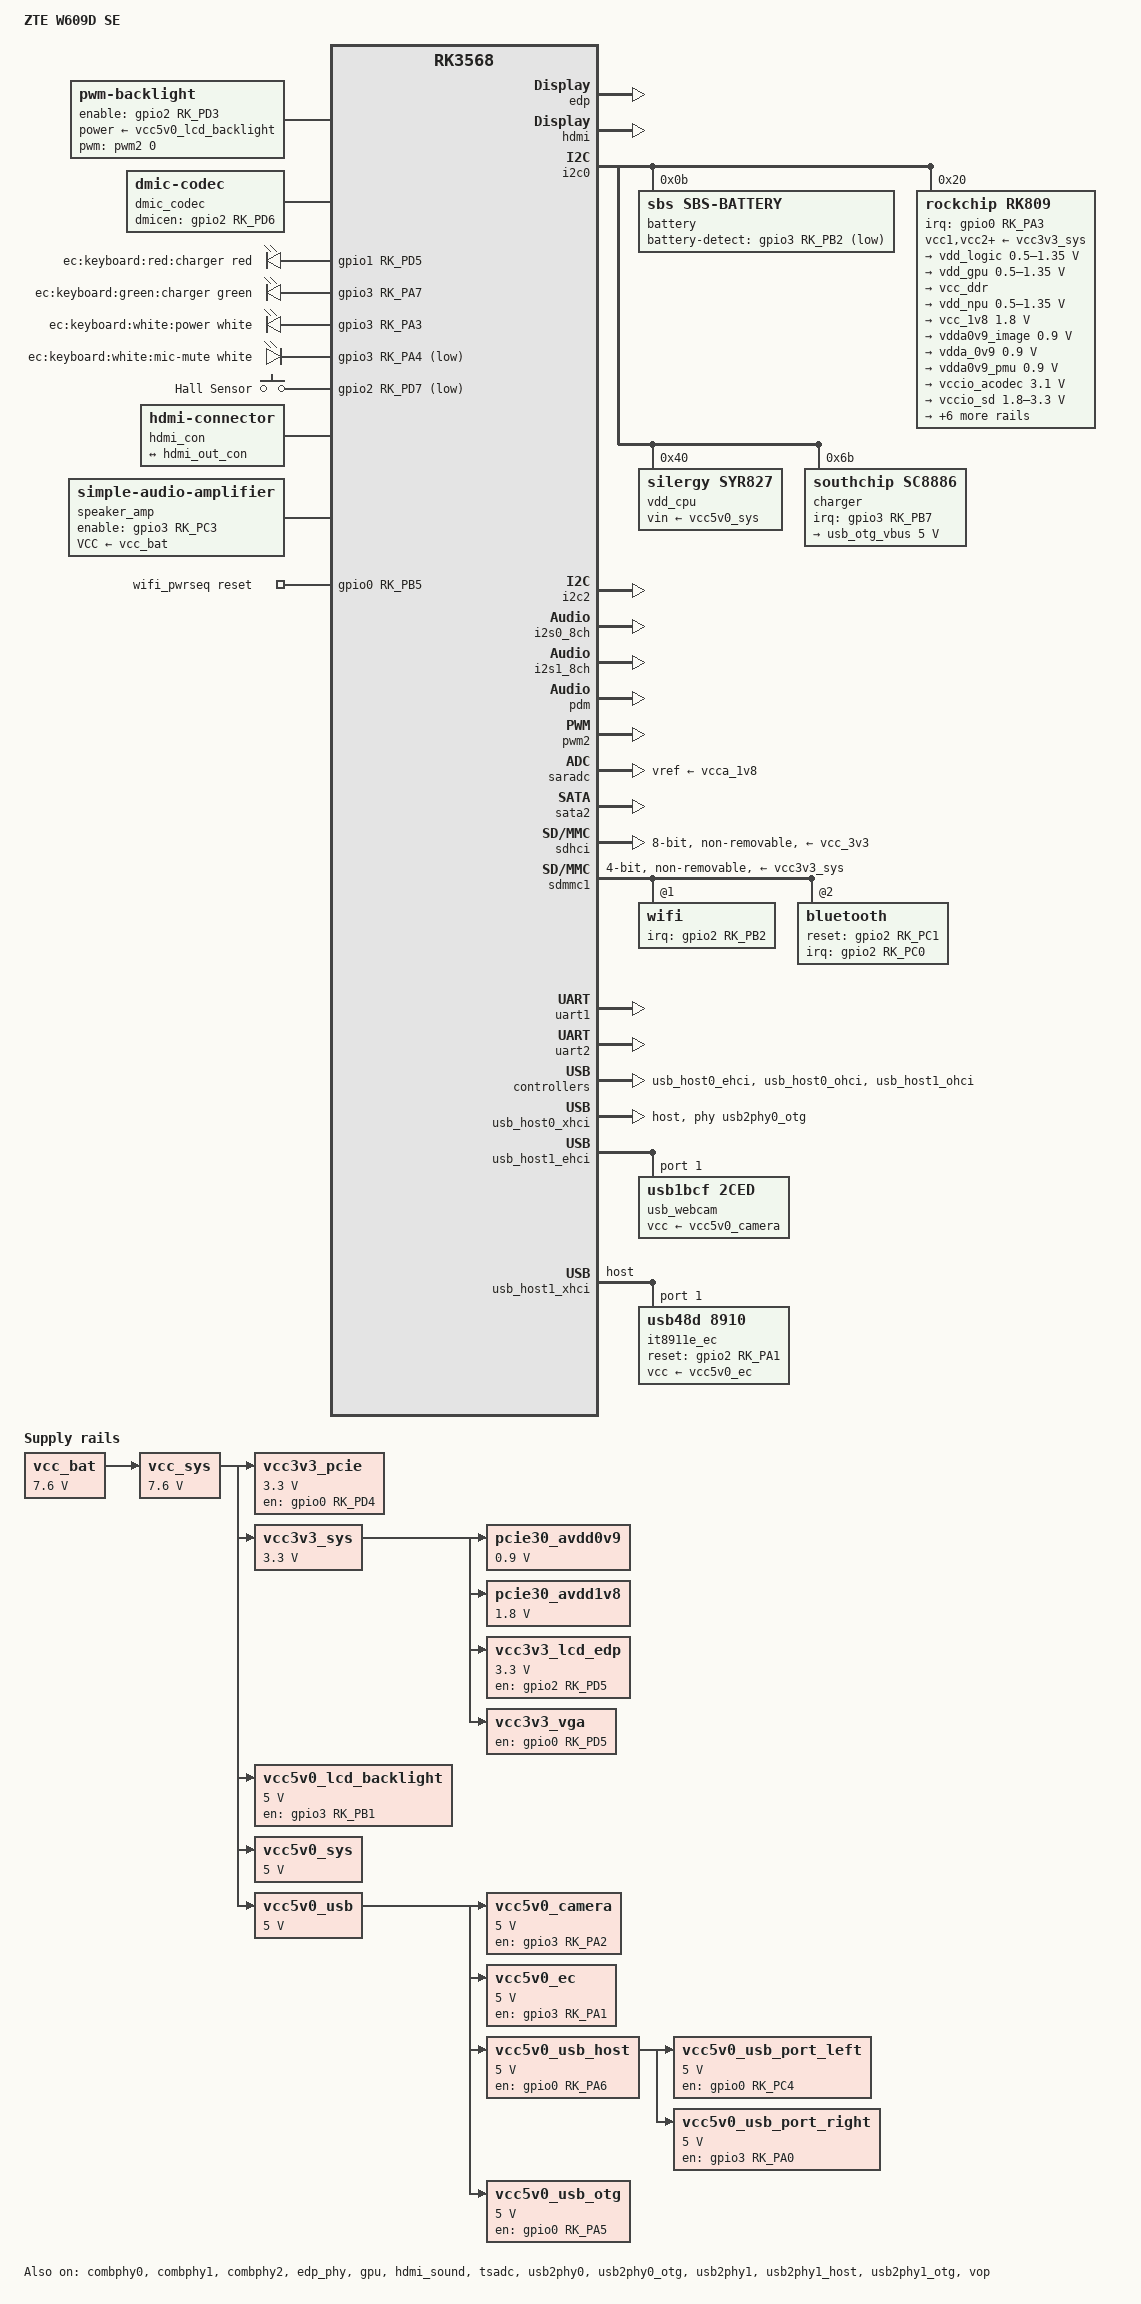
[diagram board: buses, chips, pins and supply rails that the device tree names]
// SPDX-License-Identifier: (GPL-2.0+ OR MIT)

/dts-v1/;

#include <dt-bindings/gpio/gpio.h>
#include <dt-bindings/leds/common.h>
#include <dt-bindings/input/input.h>
#include <dt-bindings/input/gpio-keys.h>
#include <dt-bindings/pinctrl/rockchip.h>
#include <dt-bindings/soc/rockchip,vop2.h>
#include "rk3568.dtsi"

/ {
	model = "ZTE W609D SE";
	compatible = "zte,w609dse", "rockchip,rk3568";
	chassis-type = "laptop";

	aliases {
		serial0 = &uart2;
		mmc0 = &sdhci;
		mmc1 = &sdmmc1;
	};

	backlight: backlight {
		compatible = "pwm-backlight";

		enable-gpios = <&gpio2 RK_PD3 GPIO_ACTIVE_HIGH>;
		power-supply = <&vcc5v0_lcd_backlight>;
		pwms = <&pwm2 0 25000 0>;

		brightness-levels = <0 255>;
		num-interpolated-steps = <255>;
		default-brightness-level = <200>;
	};

	chosen: chosen {
		#address-cells = <2>;
		#size-cells = <2>;
		stdout-path = "serial2:1500000n8";
	};

	dmic_codec: dmic-codec {
		compatible = "dmic-codec";
		dmicen-gpios = <&gpio2 RK_PD6 0>;
		pinctrl-0 = <&dmic_en_pin>;
		pinctrl-names = "default";
		#sound-dai-cells = <0>;
	};

	firmware {
		optee: optee {
			compatible = "linaro,optee-tz";
			method = "smc";
		};

		sdei: sdei {
			compatible = "arm,sdei-1.0";
			method = "smc";
		};
	};

	leds: gpio-leds {
		compatible = "gpio-leds";
		pinctrl-0 = <&leds_gpio>;
		pinctrl-names = "default";

		charger-red-led {
			gpios = <&gpio1 RK_PD5 GPIO_ACTIVE_HIGH>;
			function = LED_FUNCTION_CHARGING;
			color = <LED_COLOR_ID_RED>;
			linux,default-trigger = "sbs-0-000b-charging";
			label = "ec:keyboard:red:charger";
			default-state = "keep";
			retain-state-suspended;
		};

		charger-green-led {
			gpios = <&gpio3 RK_PA7 GPIO_ACTIVE_HIGH>;
			function = LED_FUNCTION_CHARGING;
			color = <LED_COLOR_ID_GREEN>;
			linux,default-trigger = "sbs-0-000b-full";
			label = "ec:keyboard:green:charger";
			default-state = "keep";
			retain-state-suspended;
		};

		keyboard-power-led {
			gpios = <&gpio3 RK_PA3 GPIO_ACTIVE_HIGH>;
			function = LED_FUNCTION_POWER;
			color = <LED_COLOR_ID_WHITE>;
			linux,default-trigger = "default-on";
			label = "ec:keyboard:white:power";
			default-state = "on";
			panic-indicator;
		};

		keyboard-mic-mute-led {
			gpios = <&gpio3 RK_PA4 GPIO_ACTIVE_LOW>;
			function = LED_FUNCTION_MICMUTE;
			color = <LED_COLOR_ID_WHITE>;
			linux,default-trigger = "audio-micmute";
			label = "ec:keyboard:white:mic-mute";
			default-state = "keep";
		};
	};

	gpio_keys: gpio-keys {
		compatible = "gpio-keys";
		pinctrl-0 = <&keys_gpio>;
		pinctrl-names = "default";

		hall: switch-hall-sensor {
			label = "Hall Sensor";
			gpios = <&gpio2 RK_PD7 GPIO_ACTIVE_LOW>;
			linux,input-type = <EV_SW>;
			linux,code = <SW_LID>;
			debounce-interval = <500>;
			wakeup-event-action = <EV_ACT_ASSERTED>;
			wakeup-source;
		};
	};

	hdmi_con: hdmi-con {
		compatible = "hdmi-connector";
		type = "a";

		port {
			hdmi_con_in: endpoint {
				remote-endpoint = <&hdmi_out_con>;
			};
		};
	};

	pcie30_avdd0v9: regulator-pcie30-avdd0v9 {
		compatible = "regulator-fixed";
		regulator-name = "pcie30-avdd0v9";
		regulator-always-on;
		regulator-boot-on;
		regulator-min-microvolt = <900000>;
		regulator-max-microvolt = <900000>;
		vin-supply = <&vcc3v3_sys>;
	};

	pcie30_avdd1v8: regulator-pcie30-avdd1v8 {
		compatible = "regulator-fixed";
		regulator-name = "pcie30_avdd1v8";
		regulator-always-on;
		regulator-boot-on;
		regulator-min-microvolt = <1800000>;
		regulator-max-microvolt = <1800000>;
		vin-supply = <&vcc3v3_sys>;
	};

	vcc_bat: regulator-vcc-bat {
		compatible = "regulator-fixed";
		regulator-name = "vcc-bat";
		regulator-always-on;
		regulator-min-microvolt = <7600000>;
		regulator-max-microvolt = <7600000>;
	};

	vcc_sys: regulator-vcc-sys {
		compatible = "regulator-fixed";
		regulator-name = "vcc-sys";
		regulator-always-on;
		regulator-min-microvolt = <7600000>;
		regulator-max-microvolt = <7600000>;
		vin-supply = <&vcc_bat>;
	};

	vcc3v3_lcd_edp: regulator-vcc3v3-lcd-edp {
		compatible = "regulator-fixed";
		gpio = <&gpio2 RK_PD5 GPIO_ACTIVE_HIGH>;
		regulator-name = "vcc3v3-lcd-edp";
		regulator-boot-on;
		regulator-min-microvolt = <3300000>;
		regulator-max-microvolt = <3300000>;
		enable-active-high;
		vin-supply = <&vcc3v3_sys>;

		regulator-state-mem {
			regulator-off-in-suspend;
		};
	};

	vcc3v3_pcie: regulator-vcc3v3-pcie {
		compatible = "regulator-fixed";
		regulator-name = "vcc3v3-pcie";
		regulator-min-microvolt = <3300000>;
		regulator-max-microvolt = <3300000>;
		enable-active-high;
		gpio = <&gpio0 RK_PD4 GPIO_ACTIVE_HIGH>;
		startup-delay-us = <5000>;
		vin-supply = <&vcc_sys>;
	};

	vcc3v3_sys: regulator-vcc3v3-sys {
		compatible = "regulator-fixed";
		regulator-name = "vcc3v3-sys";
		regulator-always-on;
		regulator-boot-on;
		regulator-min-microvolt = <3300000>;
		regulator-max-microvolt = <3300000>;
		vin-supply = <&vcc_sys>;
	};

	vcc5v0_camera: regulator-vcc5v0-camera {
		compatible = "regulator-fixed";
		regulator-name = "vcc5v0-camera";
		regulator-boot-on;
		regulator-min-microvolt = <5000000>;
		regulator-max-microvolt = <5000000>;
		enable-active-high;
		gpio = <&gpio3 RK_PA2 GPIO_ACTIVE_HIGH>;
		vin-supply = <&vcc5v0_usb>;
		pinctrl-names = "default";
		pinctrl-0 = <&vcc5v0_cam_pwren>;

		regulator-state-mem {
			regulator-off-in-suspend;
		};
	};

	vcc5v0_ec: regulator-vcc5v0-ec {
		compatible = "regulator-fixed";
		regulator-name = "vcc5v0-ec";
		regulator-boot-on;
		regulator-always-on;
		regulator-min-microvolt = <5000000>;
		regulator-max-microvolt = <5000000>;
		enable-active-high;
		gpio = <&gpio3 RK_PA1 GPIO_ACTIVE_HIGH>;
		vin-supply = <&vcc5v0_usb>;
		pinctrl-names = "default";
		pinctrl-0 = <&vcc5v0_ec_pwren>;
	};

	vcc5v0_lcd_backlight: regulator-vcc3v3-lcd-backlight {
		compatible = "regulator-fixed";
		gpio = <&gpio3 RK_PB1 GPIO_ACTIVE_HIGH>;
		regulator-boot-on;
		regulator-name = "vcc5v0-lcd-backlight";
		regulator-min-microvolt = <5000000>;
		regulator-max-microvolt = <5000000>;
		enable-active-high;
		vin-supply = <&vcc_sys>;

		regulator-state-mem {
			regulator-off-in-suspend;
		};
	};

	vcc5v0_sys: regulator-vcc5v0-sys {
		compatible = "regulator-fixed";
		regulator-name = "vcc5v0_sys";
		regulator-always-on;
		regulator-boot-on;
		regulator-min-microvolt = <5000000>;
		regulator-max-microvolt = <5000000>;
		vin-supply = <&vcc_sys>;
	};

	vcc5v0_usb: regulator-vcc5v0-usb {
		compatible = "regulator-fixed";
		regulator-name = "vcc5v0_usb";
		regulator-always-on;
		regulator-boot-on;
		regulator-min-microvolt = <5000000>;
		regulator-max-microvolt = <5000000>;
		vin-supply = <&vcc_sys>;
	};

	vcc5v0_usb_host: regulator-vcc5v0-usb-host {
		compatible = "regulator-fixed";
		regulator-name = "vcc5v0-usb-host";
		regulator-boot-on;
		regulator-always-on;
		regulator-min-microvolt = <5000000>;
		regulator-max-microvolt = <5000000>;
		enable-active-high;
		gpio = <&gpio0 RK_PA6 GPIO_ACTIVE_HIGH>;
		vin-supply = <&vcc5v0_usb>;
		pinctrl-names = "default";
		pinctrl-0 = <&vcc5v0_usb_host_en>;
	};

	vcc5v0_usb_otg: regulator-vcc5v0-usb-otg {
		compatible = "regulator-fixed";
		regulator-name = "vcc5v0-usb-otg";
		regulator-min-microvolt = <5000000>;
		regulator-max-microvolt = <5000000>;
		enable-active-high;
		gpio = <&gpio0 RK_PA5 GPIO_ACTIVE_HIGH>;
		vin-supply = <&vcc5v0_usb>;
		pinctrl-names = "default";
		pinctrl-0 = <&vcc5v0_usb_otg_en>;
	};

	vcc5v0_usb_port_left: regulator-vcc5v0-usb-port-left {
		compatible = "regulator-fixed";
		regulator-name = "vcc5v0-usb-port-left";
		regulator-min-microvolt = <5000000>;
		regulator-max-microvolt = <5000000>;
		enable-active-high;
		gpio = <&gpio0 RK_PC4 GPIO_ACTIVE_HIGH>;
		vin-supply = <&vcc5v0_usb_host>;
		pinctrl-names = "default";
		pinctrl-0 = <&left_usblimited_en>;
	};

	vcc5v0_usb_port_right: regulator-vcc5v0-usb-port-right {
		compatible = "regulator-fixed";
		regulator-name = "vcc5v0-usb-port-right";
		regulator-min-microvolt = <5000000>;
		regulator-max-microvolt = <5000000>;
		enable-active-high;
		gpio = <&gpio3 RK_PA0 GPIO_ACTIVE_HIGH>;
		vin-supply = <&vcc5v0_usb_host>;
		pinctrl-names = "default";
		pinctrl-0 = <&right_usblimited_en>;
	};

	vcc3v3_vga: regulator-vcc3v3-vga {
		compatible = "regulator-fixed";
		regulator-name = "vcc3v3-vga";
		regulator-always-on;
		regulator-boot-on;
		gpio = <&gpio0 RK_PD5 GPIO_ACTIVE_HIGH>;
		enable-active-high;
		vin-supply = <&vcc3v3_sys>;
	};

	sound {
		compatible = "simple-audio-card";
		simple-audio-card,name = "ZTE W609D-SE";
		simple-audio-card,aux-devs = <&speaker_amp>;
		simple-audio-card,widgets = "Headphone", "Headphones",
					    "Speaker", "Internal Speakers";
		simple-audio-card,routing = "Headphones", "HPOL",
					    "Headphones", "HPOR",
					    "Internal Speakers", "Speakers Amplifier OUTL",
					    "Internal Speakers", "Speakers Amplifier OUTR",
					    "Speakers Amplifier INL", "HPOL",
					    "Speakers Amplifier INR", "HPOR";
		simple-audio-card,pin-switches = "Internal Speakers";
		#address-cells = <1>;
		#size-cells = <0>;

		simple-audio-card,dai-link@0 {
			reg = <0>;
			bitclock-master = <&link0_cpu>;
			format = "i2s";
			frame-master = <&link0_cpu>;
			mclk-fs = <256>;

			link0_cpu: cpu {
				sound-dai = <&i2s1_8ch>;
			};

			link0_codec: codec {
				sound-dai = <&rk809>;
			};
		};

		simple-audio-card,dai-link@1 {
			reg = <1>;
			bitclock-master = <&link1_cpu>;
			format = "pdm";
			frame-master = <&link1_cpu>;

			link1_cpu: cpu {
				sound-dai = <&pdm>;
			};

			link1_codec: codec {
				sound-dai = <&dmic_codec>;
			};
		};
	};

	speaker_amp: speaker-amp {
		compatible = "simple-audio-amplifier";
		pinctrl-names = "default";
		pinctrl-0 = <&spk_ctl_pin>;
		enable-gpios = <&gpio3 RK_PC3 GPIO_ACTIVE_HIGH>;
		sound-name-prefix = "Speakers Amplifier";
		VCC-supply = <&vcc_bat>;
	};

	wifi_pwrseq: wifi-pwrseq {
		compatible = "mmc-pwrseq-simple";
		clocks = <&rk809 1>;
		clock-names = "ext_clock";
		pinctrl-names = "default";
		pinctrl-0 = <&wifi_reg_on_h &bt_reg_on_h>;
		post-power-on-delay-ms = <200>;
		reset-gpios = <&gpio0 RK_PB5 GPIO_ACTIVE_HIGH>;
	};
	
	reserved-memory {
		#address-cells = <2>;
		#size-cells = <2>;
		ranges;

		ramoops: ramoops@110000 {
			compatible = "ramoops";
			reg = <0 0x110000 0 0xf0000>;
			console-size = <0x80000>;
			ftrace-size = <0x00000>;
			pmsg-size = <0x50000>;
			record-size = <0x20000>;
		};

		optee_mem: optee@8400000 {
			reg = <0x0 0x8400000 0x0 0x1e00000>;
			no-map;
		};
	};
};

&combphy0 {
	status = "okay";
};

&combphy1 {
	status = "okay";
};

&combphy2 {
	status = "okay";
};

&cpu0 {
	cpu-supply = <&vdd_cpu>;
};

&cpu1 {
	cpu-supply = <&vdd_cpu>;
};

&cpu2 {
	cpu-supply = <&vdd_cpu>;
};

&cpu3 {
	cpu-supply = <&vdd_cpu>;
};

&edp {
	force-hpd;
	status = "okay";

	aux-bus {
		/* KDC KD140N1930A02 eDP Panel (1920x1080@60hz) */
		panel {
			compatible = "edp-panel";
			backlight = <&backlight>;
			power-supply = <&vcc3v3_lcd_edp>;
			enable-gpios = <&gpio2 RK_PD4 GPIO_ACTIVE_HIGH>;
			no-hpd;

			port {
				panel_in_edp: endpoint {
					remote-endpoint = <&edp_out_panel>;
				};
			};
		};
	};
};

&edp_in {
	edp_in_vp0: endpoint {
		remote-endpoint = <&vp0_out_edp>;
	};
};

&edp_out {
	edp_out_panel: endpoint {
		remote-endpoint = <&panel_in_edp>;
	};
};

&edp_phy {
	status = "okay";
};

&gpu {
	mali-supply = <&vdd_gpu>;
	status = "okay";
};

&hdmi {
	avdd-0v9-supply = <&vdda_0v9>;
	avdd-1v8-supply = <&vcca_1v8>;
	status = "okay";
};

&hdmi_in {
	hdmi_in_vp2: endpoint {
		remote-endpoint = <&vp2_out_hdmi>;
	};
};

&hdmi_out {
	hdmi_out_con: endpoint {
		remote-endpoint = <&hdmi_con_in>;
	};
};

&hdmi_sound {
	status = "okay";
};

&i2c0 {
	status = "okay";

	battery: sbs-battery@b {
		compatible = "sbs,sbs-battery";
		reg = <0xb>;
		power-supplies = <&charger>;
		sbs,battery-detect-gpios = <&gpio3 RK_PB2 GPIO_ACTIVE_LOW>;
		sbs,i2c-retry-count = <5>;
	};

	rk809: pmic@20 {
		compatible = "rockchip,rk809";
		reg = <0x20>;
		interrupt-parent = <&gpio0>;
		interrupts = <RK_PA3 IRQ_TYPE_LEVEL_LOW>;
		#clock-cells = <1>;
		clock-output-names = "rk809-clkout1", "rk809-clkout2";
		clock-names = "mclk";
		clocks = <&cru I2S1_MCLKOUT_TX>;
		pinctrl-names = "default";
		pinctrl-0 = <&pmic_int>, <&i2s1m0_mclk>;
		system-power-controller;
		#sound-dai-cells = <0>;
		vcc1-supply = <&vcc3v3_sys>;
		vcc2-supply = <&vcc3v3_sys>;
		vcc3-supply = <&vcc3v3_sys>;
		vcc4-supply = <&vcc3v3_sys>;
		vcc5-supply = <&vcc3v3_sys>;
		vcc6-supply = <&vcc3v3_sys>;
		vcc7-supply = <&vcc3v3_sys>;
		vcc8-supply = <&vcc3v3_sys>;
		vcc9-supply = <&vcc3v3_sys>;
		wakeup-source;

		regulators {
			vdd_logic: DCDC_REG1 {
				regulator-name = "vdd_logic";
				regulator-always-on;
				regulator-boot-on;
				regulator-min-microvolt = <500000>;
				regulator-max-microvolt = <1350000>;
				regulator-ramp-delay = <6001>;
				regulator-initial-mode = <0x2>;

				regulator-state-mem {
					regulator-off-in-suspend;
				};
			};

			vdd_gpu: DCDC_REG2 {
				regulator-name = "vdd_gpu";
				regulator-always-on;
				regulator-boot-on;
				regulator-min-microvolt = <500000>;
				regulator-max-microvolt = <1350000>;
				regulator-ramp-delay = <6001>;
				regulator-initial-mode = <0x2>;

				regulator-state-mem {
					regulator-off-in-suspend;
				};
			};

			vcc_ddr: DCDC_REG3 {
				regulator-name = "vcc_ddr";
				regulator-always-on;
				regulator-boot-on;
				regulator-initial-mode = <0x2>;

				regulator-state-mem {
					regulator-on-in-suspend;
				};
			};

			vdd_npu: DCDC_REG4 {
				regulator-name = "vdd_npu";
				regulator-always-on;
				regulator-boot-on;
				regulator-min-microvolt = <500000>;
				regulator-max-microvolt = <1350000>;
				regulator-ramp-delay = <6001>;
				regulator-initial-mode = <0x2>;

				regulator-state-mem {
					regulator-off-in-suspend;
				};
			};

			vcc_1v8: DCDC_REG5 {
				regulator-name = "vcc_1v8";
				regulator-always-on;
				regulator-boot-on;
				regulator-min-microvolt = <1800000>;
				regulator-max-microvolt = <1800000>;

				regulator-state-mem {
					regulator-off-in-suspend;
				};
			};

			vdda0v9_image: LDO_REG1 {
				regulator-name = "vdda0v9_image";
				regulator-boot-on;
				regulator-always-on;
				regulator-min-microvolt = <900000>;
				regulator-max-microvolt = <900000>;

				regulator-state-mem {
					regulator-off-in-suspend;
				};
			};

			vdda_0v9: LDO_REG2 {
				regulator-name = "vdda_0v9";
				regulator-always-on;
				regulator-boot-on;
				regulator-min-microvolt = <900000>;
				regulator-max-microvolt = <900000>;

				regulator-state-mem {
					regulator-off-in-suspend;
				};
			};

			vdda0v9_pmu: LDO_REG3 {
				regulator-name = "vdda0v9_pmu";
				regulator-always-on;
				regulator-boot-on;
				regulator-min-microvolt = <900000>;
				regulator-max-microvolt = <900000>;

				regulator-state-mem {
					regulator-on-in-suspend;
					regulator-suspend-microvolt = <900000>;
				};
			};

			vccio_acodec: LDO_REG4 {
				regulator-name = "vccio_acodec";
				regulator-always-on;
				regulator-boot-on;
				regulator-min-microvolt = <3100000>;
				regulator-max-microvolt = <3100000>;

				regulator-state-mem {
					regulator-off-in-suspend;
				};
			};

			vccio_sd: LDO_REG5 {
				regulator-name = "vccio_sd";
				regulator-always-on;
				regulator-boot-on;
				regulator-min-microvolt = <1800000>;
				regulator-max-microvolt = <3300000>;

				regulator-state-mem {
					regulator-off-in-suspend;
				};
			};

			vcc3v3_pmu: LDO_REG6 {
				regulator-name = "vcc3v3_pmu";
				regulator-always-on;
				regulator-boot-on;
				regulator-min-microvolt = <3300000>;
				regulator-max-microvolt = <3300000>;

				regulator-state-mem {
					regulator-on-in-suspend;
					regulator-suspend-microvolt = <3300000>;
				};
			};

			vcca_1v8: LDO_REG7 {
				regulator-name = "vcca_1v8";
				regulator-always-on;
				regulator-boot-on;
				regulator-min-microvolt = <1800000>;
				regulator-max-microvolt = <1800000>;

				regulator-state-mem {
					regulator-off-in-suspend;
				};
			};

			vcca1v8_pmu: LDO_REG8 {
				regulator-name = "vcca1v8_pmu";
				regulator-always-on;
				regulator-boot-on;
				regulator-min-microvolt = <1800000>;
				regulator-max-microvolt = <1800000>;

				regulator-state-mem {
					regulator-on-in-suspend;
					regulator-suspend-microvolt = <1800000>;
				};
			};

			vcca1v8_image: LDO_REG9 {
				regulator-name = "vcca1v8_image";
				regulator-always-on;
				regulator-boot-on;
				regulator-min-microvolt = <1800000>;
				regulator-max-microvolt = <1800000>;

				regulator-state-mem {
					regulator-off-in-suspend;
				};
			};

			vcc_3v3: SWITCH_REG1 {
				regulator-name = "vcc_3v3";
				regulator-always-on;
				regulator-boot-on;

				regulator-state-mem {
					regulator-off-in-suspend;
				};
			};

			vcc3v3_sd: SWITCH_REG2 {
				regulator-name = "vcc3v3_sd";
				regulator-always-on;
				regulator-boot-on;

				regulator-state-mem {
					regulator-off-in-suspend;
				};
			};
		};
	};

	vdd_cpu: regulator@40 {
		compatible = "silergy,syr827";
		reg = <0x40>;
		fcs,suspend-voltage-selector = <1>;
		regulator-name = "vdd_cpu";
		regulator-always-on;
		regulator-boot-on;
		regulator-min-microvolt = <712500>;
		regulator-max-microvolt = <1390000>;
		regulator-ramp-delay = <1000>;
		vin-supply = <&vcc5v0_sys>;

		regulator-state-mem {
			regulator-off-in-suspend;
		};
	};

	charger: sc8886@6b {
		compatible = "southchip,sc8886", "ti,bq25703";
		reg = <0x6b>;
		interrupt-parent = <&gpio3>;
		interrupts = <RK_PB7 IRQ_TYPE_EDGE_BOTH>;
		pinctrl-names = "default";
		pinctrl-0 = <&charger_ok_int>;
		ti,input-current = <3000000>;
		ti,charge-current = <3000000>;
		ti,max-charge-voltage = <8700000>;
		ti,minimum-sys-voltage = <6144000>;
		status = "okay";

		usb_otg_vbus: usb-otg-vbus {
			regulator-min-microvolt = <5000000>;
			regulator-max-microvolt = <5000000>;
			regulator-name = "usb-otg-vbus";
		};
	};
};

&i2c2 {
	pinctrl-names = "default";
	pinctrl-0 = <&i2c2m1_xfer>;
	status = "okay";

	/* EC ITE8911 Unknown @ 0x08 */
	/* EC ITE8911 Unknown @ 0x5b */
};

&i2s0_8ch {
	status = "okay";
};

&i2s1_8ch {
	pinctrl-0 = <&i2s1m0_sclktx>, <&i2s1m0_lrcktx>, <&i2s1m0_sdi0>,
		    <&i2s1m0_sdo0>;
	pinctrl-names = "default";
	rockchip,trcm-sync-tx-only;
	status = "okay";
};

&pdm {
	pinctrl-0 = <&pdmm0_clk>, <&pdmm0_clk1>, <&pdmm0_sdi1>;
	rockchip,path-map = <1>, <2>, <3>, <0>;
	status = "okay";
};

&pinctrl {
	battery {
		bat_id: bat-id {
			rockchip,pins = <3 RK_PB2 RK_FUNC_GPIO &pcfg_pull_none>;
		};
	};

	bt {
		bt_reg_on_h: bt-reg-on-h {
			rockchip,pins = <2 RK_PC1 RK_FUNC_GPIO &pcfg_pull_none>;
		};

		bt_reset_h: bt-reset-h {
			rockchip,pins = <2 RK_PB7 RK_FUNC_GPIO &pcfg_pull_none>;
		};

		bt_irq_h: bt-irq-h {
			rockchip,pins = <2 RK_PC0 RK_FUNC_GPIO &pcfg_pull_down>;
		};
	};

	charger {
		charger_ok_int: charger-ok-int {
			rockchip,pins = <3 RK_PB7 RK_FUNC_GPIO &pcfg_pull_down>;
		};
	};

	keys {
		keys_gpio: keys-irq {
			rockchip,pins = <2 RK_PD7 RK_FUNC_GPIO &pcfg_pull_up>;
		};
	};

	leds {
		leds_gpio: leds-gpio {
			rockchip,pins = <1 RK_PD5 RK_FUNC_GPIO &pcfg_pull_down>,
					<3 RK_PA7 RK_FUNC_GPIO &pcfg_pull_down>,
					<3 RK_PA3 RK_FUNC_GPIO &pcfg_pull_down>,
					<3 RK_PA4 RK_FUNC_GPIO &pcfg_pull_down>;
		};
	};

	pmic {
		pmic_int: pmic-int {
			rockchip,pins = <0 RK_PA3 RK_FUNC_GPIO &pcfg_pull_up>;
		};
	};

	sound {
		dmic_en_pin: dmic-en-pin {
			rockchip,pins = <2 RK_PD6 RK_FUNC_GPIO &pcfg_pull_none>;
		};

		spk_ctl_pin: spk-ctl-pin {
			rockchip,pins = <3 RK_PC3 RK_FUNC_GPIO &pcfg_pull_none>;
		};

		hp_det_pin: hp-det-pin {
			rockchip,pins = <3 RK_PC2 RK_FUNC_GPIO &pcfg_pull_none>;
		};
	};

	usb {
		vcc5v0_cam_pwren: vcc5v0-cam-pwren {
			rockchip,pins = <3 RK_PA2 RK_FUNC_GPIO &pcfg_pull_none>;
		};

		vcc5v0_ec_pwren: vcc5v0-ec-pwren {
			rockchip,pins = <3 RK_PA1 RK_FUNC_GPIO &pcfg_pull_none>;
		};

		vcc5v0_usb_host_en: vcc5v0-host-en {
			rockchip,pins = <0 RK_PA6 RK_FUNC_GPIO &pcfg_pull_none>;
		};

		vcc5v0_usb_otg_en: vcc5v0-otg-en {
			rockchip,pins = <0 RK_PA5 RK_FUNC_GPIO &pcfg_pull_none>;
		};

		usbhub_reset_gpio: usbhub-reset-gpio {
			rockchip,pins = <3 RK_PA5 RK_FUNC_GPIO &pcfg_pull_none>;
		};

		right_usblimited_irq: right-usblimited-irq {
			rockchip,pins = <4 RK_PC4 RK_FUNC_GPIO &pcfg_pull_up>;
		};

		right_usblimited_en: right-usblimited-en {
			rockchip,pins = <3 RK_PA0 RK_FUNC_GPIO &pcfg_pull_none>;
		};

		left_usblimited_irq: left-usblimited-irq {
			rockchip,pins = <3 RK_PB0 RK_FUNC_GPIO &pcfg_pull_up>;
		};
		
		left_usblimited_en: left-usblimited-en {
			rockchip,pins = <0 RK_PC4 RK_FUNC_GPIO &pcfg_pull_none>;
		};
	};

	wifi {
		wifi_reg_on_h: wifi-reg-on-h {
			rockchip,pins = <0 RK_PB5 RK_FUNC_GPIO &pcfg_pull_none>;
		};

		wifi_irq_h: wifi-irq-h {
			rockchip,pins = <2 RK_PB2 RK_FUNC_GPIO &pcfg_pull_down>;
		};
	};
};

&pmu_io_domains {
	pmuio2-supply = <&vcc3v3_pmu>;
	vccio1-supply = <&vccio_acodec>;
	vccio3-supply = <&vccio_sd>;
	vccio4-supply = <&vcc_1v8>;
	vccio5-supply = <&vcc_3v3>;
	vccio6-supply = <&vcc_3v3>;
	vccio7-supply = <&vcc_3v3>;
	status = "okay";
};

&pmugrf {
	reboot-mode {
		compatible = "syscon-reboot-mode";
		offset = <0x200>;
		mode-loader = <BOOT_BL_DOWNLOAD>;
		mode-recovery = <BOOT_RECOVERY>;
		mode-bootloader = <BOOT_FASTBOOT>;
		mode-panic = <(REBOOT_FLAG + 0x7)>;
		mode-watchdog = <(REBOOT_FLAG + 0x8)>;
		mode-fastboot = <(REBOOT_FLAG + 0x9)>;
		mode-charge = <(REBOOT_FLAG + 0xb)>;
		mode-ums = <(REBOOT_FLAG + 0xc)>;
	};
};

&pwm2 {
	pinctrl-0 = <&pwm2m1_pins>;
	status = "okay";
};

&saradc {
	vref-supply = <&vcca_1v8>;
	status = "okay";
};

&sata2 {
	status = "okay";
};

/* eMMC */
&sdhci {
	bus-width = <8>;
	max-frequency = <200000000>;
	mmc-hs200-1_8v;
	non-removable;
	pinctrl-names = "default";
	pinctrl-0 = <&emmc_bus8 &emmc_clk &emmc_cmd>;
	vmmc-supply = <&vcc_3v3>;
	vqmmc-supply = <&vcc_1v8>;
	status = "okay";
};

&sdmmc1 {
	bus-width = <4>;
	cap-sd-highspeed;
	cap-sdio-irq;
	keep-power-in-suspend;
	mmc-pwrseq = <&wifi_pwrseq>;
	non-removable;
	pinctrl-names = "default";
	pinctrl-0 = <&sdmmc1_bus4 &sdmmc1_cmd &sdmmc1_clk>;
	sd-uhs-sdr104;
	vmmc-supply = <&vcc3v3_sys>;
	vqmmc-supply = <&vcc_1v8>;
	#address-cells = <1>;
	#size-cells = <0>;
	status = "okay";

	/* MediaTek MT7661 WiFi */
	wifi: wifi@1 {
		reg = <1>;
		interrupt-parent = <&gpio2>;
		interrupts = <RK_PB2 IRQ_TYPE_LEVEL_HIGH>;
		pinctrl-names = "default";
		pinctrl-0 = <&wifi_irq_h>;
		interrupt-names = "host-wake";
	};

	/* MediaTek MT7661 Bluetooth */
	bluetooth: bluetooth@2 {
		reg = <2>;
		clocks = <&rk809 1>;
		clock-names = "lpo";
		interrupt-parent = <&gpio2>;
		interrupts = <RK_PC0 IRQ_TYPE_EDGE_RISING>;
		interrupt-names = "host-wake";
		pinctrl-names = "default";
		pinctrl-0 = <&bt_reset_h &bt_irq_h>;
		reset-gpios = <&gpio2 RK_PC1 GPIO_ACTIVE_HIGH>;
	};
};

&tsadc {
	rockchip,hw-tshut-mode = <1>;
	rockchip,hw-tshut-polarity = <0>;
	status = "okay";
};

/* Bluetooth */
&uart1 {
	dma-names = "tx", "rx";
	pinctrl-names = "default";
	pinctrl-0 = <&uart1m0_xfer &uart1m0_ctsn &uart1m0_rtsn>;
	uart-has-rtscts;
	status = "okay";
};

/* Debug UART */
&uart2 {
	status = "okay";
};

/* Right USB Type-A Port */
&usb_host0_ehci {
	status = "okay";
};

/* Right USB Type-A Port */
&usb_host0_ohci {
	status = "okay";
};

/* Left USB Type-A Port */
&usb_host0_xhci {
	phys = <&usb2phy0_otg>;
	dr_mode = "host";
	status = "okay";
};

/* WebCam */
&usb_host1_ehci {
	status = "okay";
	#address-cells = <1>;
	#size-cells = <0>;

	usb_webcam: webcam@1 {
		compatible = "usb1bcf,2ced";
		reg = <1>;
		vcc-supply = <&vcc5v0_camera>;
		status = "okay";
	};
};

&usb_host1_ohci {
	status = "okay";
};

/* ITE IT8911E EC */
&usb_host1_xhci {
	dr_mode = "host";
	status = "okay";
	#address-cells = <1>;
	#size-cells = <0>;

	it8911e_ec: it8911e-ec@1 {
		compatible = "usb48d,8910";
		reg = <1>;
		vcc-supply = <&vcc5v0_ec>;
		reset-gpios = <&gpio2 RK_PA1 GPIO_ACTIVE_HIGH>;
		status = "okay";
	};
};

&usb2phy0 {
	status = "okay";
};

/* ITE IT8911E EC */
&usb2phy0_host {
	phy-supply = <&vcc5v0_ec>;
};

/* Left USB Type-A Port */
&usb2phy0_otg {
	phy-supply = <&vcc5v0_usb_port_left>;
	status = "okay";
};

&usb2phy1 {
	status = "okay";
};

/* WebCam */
&usb2phy1_host {
	phy-supply = <&vcc5v0_camera>;
	status = "okay";
};

/* Right USB Type-A Port */
&usb2phy1_otg {
	phy-supply = <&vcc5v0_usb_port_right>;
	status = "okay";
};

&vop {
	assigned-clocks = <&cru DCLK_VOP0>, <&cru DCLK_VOP1>, <&cru DCLK_VOP2>;
	assigned-clock-parents = <&pmucru PLL_HPLL>, <&cru PLL_VPLL>, <&cru PLL_GPLL>;
	status = "okay";
};

&vop_mmu {
	status = "okay";
};

/* eDP must use vp0 (only vp0 supports RGBAAAA) */
&vp0 {
	vp0_out_edp: endpoint@ROCKCHIP_VOP2_EP_EDP0 {
		reg = <ROCKCHIP_VOP2_EP_EDP0>;
		remote-endpoint = <&edp_in_vp0>;
	};
};

/* HDMI must use vp2 otherwise screen no output */
&vp2 {
	vp2_out_hdmi: endpoint@ROCKCHIP_VOP2_EP_HDMI0 {
		reg = <ROCKCHIP_VOP2_EP_HDMI0>;
		remote-endpoint = <&hdmi_in_vp2>;
	};
};
